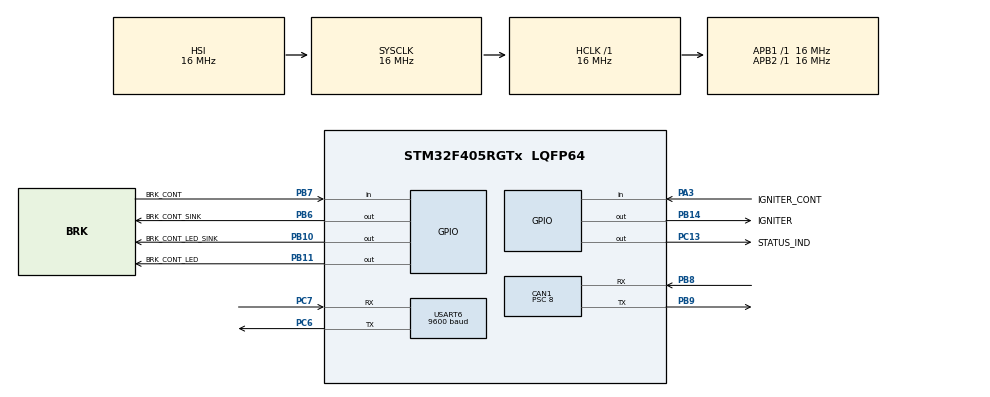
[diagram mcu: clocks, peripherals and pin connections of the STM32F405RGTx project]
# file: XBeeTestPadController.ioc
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CAN1.BS1=CAN_BS1_2TQ
CAN1.CalculateBaudRate=500000
CAN1.CalculateTimeBit=2000
CAN1.CalculateTimeQuantum=500.0
CAN1.Mode=CAN_MODE_LOOPBACK
CAN1.NART=ENABLE
CAN1.Prescaler=8
Mcu.Family=STM32F4
Mcu.Name=STM32F405RGTx
Mcu.Package=LQFP64
NVIC.CAN1_RX0_IRQn=true\:0\:0\:false\:false\:true\:true\:true\:true
NVIC.CAN1_TX_IRQn=true\:0\:0\:false\:false\:true\:true\:true\:true
NVIC.PriorityGroup=NVIC_PRIORITYGROUP_4
NVIC.USART6_IRQn=true\:0\:0\:false\:false\:true\:true\:true\:true
PA13.Mode=Serial_Wire
PA13.Signal=SYS_JTMS-SWDIO
PA14.Mode=Serial_Wire
PA14.Signal=SYS_JTCK-SWCLK
PA3.GPIO_Label=IGNITER_CONT
PA3.Signal=GPIO_Input
PB10.GPIO_Label=BRK_CONT_LED_SINK
PB10.Signal=GPIO_Output
PB11.GPIO_Label=BRK_CONT_LED
PB11.Signal=GPIO_Output
PB14.GPIO_Label=IGNITER
PB14.Signal=GPIO_Output
PB6.GPIO_Label=BRK_CONT_SINK
PB6.Signal=GPIO_Output
PB7.GPIO_Label=BRK_CONT
PB7.GPIO_PuPd=GPIO_PULLUP
PB7.Signal=GPIO_Input
PB8.Mode=CAN_Activate
PB8.Signal=CAN1_RX
PB9.Mode=CAN_Activate
PB9.Signal=CAN1_TX
PC13-ANTI_TAMP.GPIO_Label=STATUS_IND
PC13-ANTI_TAMP.Signal=GPIO_Output
PC6.GPIO_Speed=GPIO_SPEED_FREQ_LOW
PC6.Mode=Asynchronous
PC6.Signal=USART6_TX
PC7.GPIO_Speed=GPIO_SPEED_FREQ_LOW
PC7.Mode=Asynchronous
PC7.Signal=USART6_RX
ProjectManager.HeapSize=0x200
ProjectManager.StackSize=0x400
ProjectManager.TargetToolchain=STM32CubeIDE
RCC.AHBFreq_Value=16000000
RCC.APB1Freq_Value=16000000
RCC.APB2Freq_Value=16000000
RCC.CortexFreq_Value=16000000
RCC.HSE_VALUE=25000000
RCC.HSI_VALUE=16000000
RCC.LSE_VALUE=32768
RCC.SYSCLKFreq_VALUE=16000000
RCC.VCOOutputFreq_Value=192000000
USART6.BaudRate=9600
USART6.VirtualMode=VM_ASYNC
board=custom

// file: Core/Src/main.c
/* USER CODE BEGIN Header */
/**
  ******************************************************************************
  * @file           : main.c
  * @brief          : Main program body
  ******************************************************************************
  * @attention
  *
  * Copyright (c) 2025 STMicroelectronics.
  * All rights reserved.
  *
  * This software is licensed under terms that can be found in the LICENSE file
  * in the root directory of this software component.
  * If no LICENSE file comes with this software, it is provided AS-IS.
  *
  ******************************************************************************
  */
/* USER CODE END Header */
#include "main.h"

#include <stdbool.h>
#include <stdio.h>
#include <string.h>

#include "stm32/platform_config.h"
#include "stm32/xbee_platform_uart.h"
#include "stm32/xbee_actions.h"
#include "xbee/platform.h"
#include "xbee/device.h"
#include "xbee/atcmd.h"
#include "xbee/byteorder.h"   // for htobe16()
#include "xbee/wpan.h"
#include "wpan/types.h"       // for addr64, WPAN_IEEE_ADDR_BROADCAST, WPAN_NET_ADDR_UNDEFINED

CAN_HandleTypeDef hcan1;

UART_HandleTypeDef huart6;

void SystemClock_Config(void);
static void MX_GPIO_Init(void);
static void MX_CAN1_Init(void);
static void MX_USART6_UART_Init(void);

/* USER CODE BEGIN 0 */
typedef struct {
    volatile bool done;
    uint32_t      value;
    uint16_t      flags;
} at_sync_t;

static volatile uint32_t dbg_cr1;
volatile uint32_t dbg_iser;
volatile bool     dbg_rxneie;
volatile bool     dbg_irqn;
volatile uint32_t dbg_lib_AP;
volatile uint16_t dbg_xbee_flags;

static xbee_dev_t   xbee;

//#define TEST_HTOBE16(x) (uint16_t)( (((x)&0xFF)<<8) | (((x)&0xFF00)>>8) )
//
//#if htobe16(0x1234) != TEST_HTOBE16(0x1234)
//  #error "htobe16() is not swapping correctly — fix your BYTE_ORDER macros"
//#endif

static int at_sync_cb(const xbee_cmd_response_t *resp)
{
    at_sync_t *sync = (at_sync_t *)resp->context;

    /* pull up to 4 bytes into host‑endian uint32_t */
    uint32_t v = 0;
    switch (resp->value_length) {
        case 1: v = resp->value_bytes[0];                               break;
        case 2: v = be16toh(*(uint16_t *)resp->value_bytes);            break;
        case 4: v = be32toh(*(uint32_t *)resp->value_bytes);            break;
        default: /* >4 bytes ignored for this helper */                 break;
    }

    sync->value = v;
    sync->flags = resp->flags;
    sync->done  = true;
    return XBEE_ATCMD_DONE;               /* auto‑release handle      */
}

/* call:  xbee_at_read_uint32(&xbee, "VR", &ver);                         */
static int xbee_at_read_uint32(xbee_dev_t *xbee,
                               const char *at,
                               uint32_t   *out)
{
    int16_t handle = xbee_cmd_create(xbee, at);
    if (handle < 0)                           return handle;

    at_sync_t sync = { .done = false };
    xbee_cmd_set_callback(handle, at_sync_cb, &sync);

    int rc = xbee_cmd_send(handle);           /* fire the request      */
    if (rc)                                   return rc;

    while (!sync.done) {                      /* busy‑wait for reply   */
        xbee_dev_tick(xbee);
        xbee_cmd_tick();
    }

    if (XBEE_AT_RESP_STATUS(sync.flags) != XBEE_AT_RESP_SUCCESS)
        return -EIO;                          /* modem returned error  */

    *out = sync.value;
    return 0;
}

static void send_broadcast(void)
{
    const addr64 ieee_broadcast = *WPAN_IEEE_ADDR_BROADCAST;
    static const char msg[] = "Hello from F405";

    uint8_t frame_id = xbee_next_frame_id(&xbee);

    xbee_header_transmit_t hdr = {
        .frame_type         = XBEE_FRAME_TRANSMIT,      /* 0x10 */
        .frame_id           = frame_id,
        .ieee_address       = ieee_broadcast,
        .network_address_be = htobe16(WPAN_NET_ADDR_UNDEFINED), /* 0xFFFE */
        .broadcast_radius   = 0,        /* use NH parameter (default 10)  */
        .options            = 0
    };

    int rc = xbee_frame_write(&xbee,
                              &hdr, sizeof hdr,
                              msg, sizeof msg,
                              XBEE_WRITE_FLAG_NONE);
    if (rc < 0) {
        //printf("xbee_frame_write error %d\r\n", rc);
        HAL_GPIO_TogglePin(STATUS_IND_GPIO_Port, STATUS_IND_Pin);
    }
}

// call this once at startup, before any xbee_dev_init()
// returns true if we actually changed from AT→API
// returns false if already in API and untouched
// max frame size = 256 payload + overhead
#define FRAME_BUF_SIZE   (256 + 4)

/// Blocking flush of any bytes in the UART RX FIFO (up to timeout_ms)
static void uart_flush_rx(uint32_t timeout_ms) {
    uint8_t tmp;
    uint32_t t0 = HAL_GetTick();
    while (HAL_UART_Receive(&huart6, &tmp, 1, 1) == HAL_OK) {
        if ((HAL_GetTick() - t0) > timeout_ms) break;
    }
}

/// Send a raw API frame to read the “AP” parameter
static void send_at_read_AP(void) {
    // length = 0x0004 (frame type + frame id + AT cmd[2])
    // checksum = 0xFF - sum(08 + 01 + 'A' + 'P') = 0x65
    const uint8_t frame[] = {
        0x7E,       // start
        0x00, 0x04, // length = 4
        0x08,       // frame type: local AT
        0x01,       // frame ID = 1
        'A','P',    // AT command = "AP"
        0x65        // checksum
    };
    HAL_UART_Transmit(&huart6, (uint8_t*)frame, sizeof frame, HAL_MAX_DELAY);
}

/// Wait for one full API frame, up to timeout_ms ms.
/// On success copies the entire frame (including checksum) into buf,
/// and returns the total byte count (>=4). On failure returns -1.
static int uart_read_api_frame(uint8_t *buf, uint32_t timeout_ms) {
    uint8_t b;
    uint32_t t0 = HAL_GetTick();

    // 1) wait for 0x7E
    do {
        if (HAL_UART_Receive(&huart6, &b, 1, 1) == HAL_OK && b == 0x7E) {
            buf[0] = 0x7E;
            break;
        }
    } while ((HAL_GetTick() - t0) < timeout_ms);
    if (buf[0] != 0x7E) return -1;

    // 2) read length MSB/LSB
    if (HAL_UART_Receive(&huart6, buf+1, 2, timeout_ms) != HAL_OK) return -1;
    uint16_t length = (buf[1] << 8) | buf[2];
    if (length + 4 > FRAME_BUF_SIZE) return -1;  // too big!

    // 3) read payload + checksum
    if (HAL_UART_Receive(&huart6, buf+3, length + 1, timeout_ms) != HAL_OK)
        return -1;

    return length + 4;
}

/// Master routine: flush old bytes, send AT "AP", read response, print value.
int read_AP_over_api(void) {
    uint8_t frame[FRAME_BUF_SIZE];
    int n;

    // 1) clear any old cruft
    uart_flush_rx(50);

    // 2) send the AT-read-AP request
    send_at_read_AP();

    // 3) read back one API frame
    n = uart_read_api_frame(frame, 200);
    if (n < 0) {
        //printf("No API frame received\n");
        return;
    }

    // 4) parse it: expect a Local AT response (0x88), ID=1, cmd='A','P', status=0
    if (n >= 9 &&
        frame[0] == 0x7E &&
        frame[3] == 0x88 &&
        frame[4] == 0x01 &&
        frame[5] == 'A' &&
        frame[6] == 'P' &&
        frame[7] == 0x00  /* status OK */)
    {
        uint8_t ap = frame[8];
        //printf(">>> AP = %u\n", ap);
        return ap;
    }
//    else {
        //printf("Unexpected frame (len=%d):", n);
    	//for (int i = 0; i < n; i++) printf(" %02X", frame[i]);
        //printf("\n");
//    }
    return -1;
}

static void dbg_dump_xbee_flags(xbee_dev_t *xbee)
{
    dbg_xbee_flags = xbee->flags;
}

static void uart_debug_dump(void)
{
    dbg_cr1    = USART6->CR1;
    uint32_t idx = USART6_IRQn >> 5;
    uint32_t bit = USART6_IRQn & 0x1F;
    dbg_iser   = NVIC->ISER[idx];
    dbg_rxneie = (dbg_cr1 & USART_CR1_RXNEIE) != 0;
    dbg_irqn   = (dbg_iser & (1u << bit)) != 0;
}

/**
 * Send an arbitrary byte sequence over USART6, then block for up to
 * timeout_ms to receive up to rx_len bytes into rx_buf.
 *
 * @param tx_buf      Pointer to bytes to send
 * @param tx_len      Number of bytes to send
 * @param rx_buf      Buffer to store received bytes
 * @param rx_len      Max bytes to receive
 * @param timeout_ms  How long to wait (ms) for the first byte (then reads as many as arrive)
 * @return            Number of bytes actually received, or -1 on TX error
 */
int uart_send_receive(
    const uint8_t *tx_buf, size_t tx_len,
    uint8_t *rx_buf,       size_t rx_len,
    uint32_t timeout_ms
) {
    // 1) clear hardware FIFO
    {
        uint8_t tmp;
        uint32_t t0 = HAL_GetTick();
        while (HAL_UART_Receive(&huart6, &tmp, 1, 1) == HAL_OK) {
            if ((HAL_GetTick() - t0) > timeout_ms) break;
        }
    }
    // 2) clear software ring
    xbee_ser_rx_flush( xbee_platform_serial() );

    // 3) send your bytes
    if (HAL_UART_Transmit(&huart6, (uint8_t*)tx_buf, (uint16_t)tx_len, HAL_MAX_DELAY) != HAL_OK) {
        return -1;
    }

    // 4) now block for reply
    int n = HAL_UART_Receive(&huart6, rx_buf, (uint16_t)rx_len, timeout_ms);
    return n < 0 ? 0 : n;
}

/* USER CODE END 0 */

int main(void)
{

  /* MCU Configuration--------------------------------------------------------*/

  /* Reset of all peripherals, Initializes the Flash interface and the Systick. */
  HAL_Init();

  /* Configure the system clock */
  SystemClock_Config();

  /* Initialize all configured peripherals */
  MX_GPIO_Init();
  MX_CAN1_Init();
  MX_USART6_UART_Init();
  /* USER CODE BEGIN 2 */
  HAL_GPIO_WritePin(STATUS_IND_GPIO_Port, STATUS_IND_Pin, GPIO_PIN_SET);
//  int ap = read_AP_over_api();
//
//  uint8_t tx_frame[] = {
//      0x7E, 0x00, 0x04,   // correct length = 4
//      0x08,               // Local AT
//      0x01,               // frame ID
//      'H','V',            // AT command = "HV"
//      0x58
//  };
//  uint8_t rx_buf[32];
//  int rx_n = uart_send_receive(tx_frame, sizeof tx_frame,
//                                 rx_buf,   sizeof rx_buf,
//                                 1000);
//  rx_n = uart_send_receive(tx_frame, sizeof tx_frame,
//                                 rx_buf,   sizeof rx_buf,
//                                 1000);

  // --- 1) init the XBee device in the library ---

  // THIS DELAY ALLOWS XBEE TO WAKE UP
  HAL_Delay(1000);

  xbee_dev_init(&xbee, xbee_platform_serial(), always_awake, NULL);
  xbee_dev_flowcontrol(&xbee, 0);

  // --- 2) verify interrupts are really enabled ---
  uart_debug_dump();
  // now set a breakpoint on the next line and check:
  //  dbg_rxneie == true
  //  dbg_irqn   == true
  dbg_dump_xbee_flags(&xbee);

  // --- 3) kick off the built-in handshake/query ---
  xbee_ser_rx_flush( xbee_platform_serial() );
  xbee_cmd_init_device(&xbee);

  // one tick to *send* the first "HV" frame
  xbee_dev_tick(&xbee);

  xbee_cmd_tick();
  // put a breakpoint here and scope your TX pin — you should see:
  //   7E 00 04 08 01 48 56 58
  int status = 0;
  // now spin until that handshake comes back

  do {
      xbee_dev_tick(&xbee);
      xbee_cmd_tick();
      dbg_dump_xbee_flags(&xbee);
      status = xbee_cmd_query_status(&xbee);
  } while (status == -EBUSY);

  // check result
  if (status != 0) {
      // handshake failed — set a breakpoint here to inspect 'status'
      return status;
  }

  // --- 4) now use the library to read "AP" ---
  dbg_lib_AP = 0xFFFFFFFF;
  xbee_at_read_uint32(&xbee, "AP", &dbg_lib_AP);
  // read failed — dbg_lib_AP stays 0xFFFFFFFF
  // if all is well, dbg_lib_AP == 2

  // 4. Now it’s safe to issue your own commands
  uint32_t sh;
  if (xbee_at_read_uint32(&xbee, "SH", &sh) == 0) {
      //printf("Serial‑Low (SH) = %08lX\r\n", (unsigned long)sh);
	  HAL_GPIO_TogglePin(STATUS_IND_GPIO_Port, STATUS_IND_Pin);
  }

  uint32_t sl;
  if (xbee_at_read_uint32(&xbee, "SL", &sl) == 0) {
      //printf("Serial‑Low (SL) = %08lX\r\n", (unsigned long)sl);
	  HAL_GPIO_TogglePin(STATUS_IND_GPIO_Port, STATUS_IND_Pin);
  }

  /* forever */
  uint32_t tick = HAL_GetTick();
  /* USER CODE END 2 */

  /* Infinite loop */
  while (1)
  {
	  xbee_dev_tick(&xbee);   /* UART RX/TX, frame dispatcher          */
	  xbee_cmd_tick();        /* keeps AT‑command table moving         */

	  if (HAL_GetTick() - tick >= 1000) {      /* every 1 s */
//		  send_broadcast();
		  tick = HAL_GetTick();
		  HAL_GPIO_TogglePin(STATUS_IND_GPIO_Port, STATUS_IND_Pin);
	  }
  }
}

void SystemClock_Config(void)
{
  RCC_OscInitTypeDef RCC_OscInitStruct = {0};
  RCC_ClkInitTypeDef RCC_ClkInitStruct = {0};

  /** Configure the main internal regulator output voltage
  */
  __HAL_RCC_PWR_CLK_ENABLE();
  __HAL_PWR_VOLTAGESCALING_CONFIG(PWR_REGULATOR_VOLTAGE_SCALE1);

  /** Initializes the RCC Oscillators according to the specified parameters
  * in the RCC_OscInitTypeDef structure.
  */
  RCC_OscInitStruct.OscillatorType = RCC_OSCILLATORTYPE_HSI;
  RCC_OscInitStruct.HSIState = RCC_HSI_ON;
  RCC_OscInitStruct.HSICalibrationValue = RCC_HSICALIBRATION_DEFAULT;
  RCC_OscInitStruct.PLL.PLLState = RCC_PLL_NONE;
  if (HAL_RCC_OscConfig(&RCC_OscInitStruct) != HAL_OK)
  {
    Error_Handler();
  }

  /** Initializes the CPU, AHB and APB buses clocks
  */
  RCC_ClkInitStruct.ClockType = RCC_CLOCKTYPE_HCLK|RCC_CLOCKTYPE_SYSCLK
                              |RCC_CLOCKTYPE_PCLK1|RCC_CLOCKTYPE_PCLK2;
  RCC_ClkInitStruct.SYSCLKSource = RCC_SYSCLKSOURCE_HSI;
  RCC_ClkInitStruct.AHBCLKDivider = RCC_SYSCLK_DIV1;
  RCC_ClkInitStruct.APB1CLKDivider = RCC_HCLK_DIV1;
  RCC_ClkInitStruct.APB2CLKDivider = RCC_HCLK_DIV1;

  if (HAL_RCC_ClockConfig(&RCC_ClkInitStruct, FLASH_LATENCY_0) != HAL_OK)
  {
    Error_Handler();
  }
}

static void MX_CAN1_Init(void)
{

  hcan1.Instance = CAN1;
  hcan1.Init.Prescaler = 8;
  hcan1.Init.Mode = CAN_MODE_LOOPBACK;
  hcan1.Init.SyncJumpWidth = CAN_SJW_1TQ;
  hcan1.Init.TimeSeg1 = CAN_BS1_2TQ;
  hcan1.Init.TimeSeg2 = CAN_BS2_1TQ;
  hcan1.Init.TimeTriggeredMode = DISABLE;
  hcan1.Init.AutoBusOff = DISABLE;
  hcan1.Init.AutoWakeUp = DISABLE;
  hcan1.Init.AutoRetransmission = ENABLE;
  hcan1.Init.ReceiveFifoLocked = DISABLE;
  hcan1.Init.TransmitFifoPriority = DISABLE;
  if (HAL_CAN_Init(&hcan1) != HAL_OK)
  {
    Error_Handler();
  }

}

static void MX_USART6_UART_Init(void)
{

  huart6.Instance = USART6;
  huart6.Init.BaudRate = 9600;
  huart6.Init.WordLength = UART_WORDLENGTH_8B;
  huart6.Init.StopBits = UART_STOPBITS_1;
  huart6.Init.Parity = UART_PARITY_NONE;
  huart6.Init.Mode = UART_MODE_TX_RX;
  huart6.Init.HwFlowCtl = UART_HWCONTROL_NONE;
  huart6.Init.OverSampling = UART_OVERSAMPLING_16;
  if (HAL_UART_Init(&huart6) != HAL_OK)
  {
    Error_Handler();
  }

}

static void MX_GPIO_Init(void)
{
  GPIO_InitTypeDef GPIO_InitStruct = {0};

  /* GPIO Ports Clock Enable */
  __HAL_RCC_GPIOC_CLK_ENABLE();
  __HAL_RCC_GPIOA_CLK_ENABLE();
  __HAL_RCC_GPIOB_CLK_ENABLE();

  /*Configure GPIO pin Output Level */
  HAL_GPIO_WritePin(STATUS_IND_GPIO_Port, STATUS_IND_Pin, GPIO_PIN_RESET);

  /*Configure GPIO pin Output Level */
  HAL_GPIO_WritePin(GPIOB, BRK_CONT_LED_SINK_Pin|BRK_CONT_LED_Pin|IGNITER_Pin|BRK_CONT_SINK_Pin, GPIO_PIN_RESET);

  /*Configure GPIO pin : STATUS_IND_Pin */
  GPIO_InitStruct.Pin = STATUS_IND_Pin;
  GPIO_InitStruct.Mode = GPIO_MODE_OUTPUT_PP;
  GPIO_InitStruct.Pull = GPIO_NOPULL;
  GPIO_InitStruct.Speed = GPIO_SPEED_FREQ_LOW;
  HAL_GPIO_Init(STATUS_IND_GPIO_Port, &GPIO_InitStruct);

  /*Configure GPIO pin : IGNITER_CONT_Pin */
  GPIO_InitStruct.Pin = IGNITER_CONT_Pin;
  GPIO_InitStruct.Mode = GPIO_MODE_INPUT;
  GPIO_InitStruct.Pull = GPIO_NOPULL;
  HAL_GPIO_Init(IGNITER_CONT_GPIO_Port, &GPIO_InitStruct);

  /*Configure GPIO pins : BRK_CONT_LED_SINK_Pin BRK_CONT_LED_Pin IGNITER_Pin BRK_CONT_SINK_Pin */
  GPIO_InitStruct.Pin = BRK_CONT_LED_SINK_Pin|BRK_CONT_LED_Pin|IGNITER_Pin|BRK_CONT_SINK_Pin;
  GPIO_InitStruct.Mode = GPIO_MODE_OUTPUT_PP;
  GPIO_InitStruct.Pull = GPIO_NOPULL;
  GPIO_InitStruct.Speed = GPIO_SPEED_FREQ_LOW;
  HAL_GPIO_Init(GPIOB, &GPIO_InitStruct);

  /*Configure GPIO pin : BRK_CONT_Pin */
  GPIO_InitStruct.Pin = BRK_CONT_Pin;
  GPIO_InitStruct.Mode = GPIO_MODE_INPUT;
  GPIO_InitStruct.Pull = GPIO_PULLUP;
  HAL_GPIO_Init(BRK_CONT_GPIO_Port, &GPIO_InitStruct);

}

void Error_Handler(void)
{
  __disable_irq();
  while (1)
  {
  }
}

#ifdef  USE_FULL_ASSERT
/**
  * @brief  Reports the name of the source file and the source line number
  *         where the assert_param error has occurred.
  * @param  file: pointer to the source file name
  * @param  line: assert_param error line source number
  * @retval None
  */
void assert_failed(uint8_t *file, uint32_t line)
{
  /* USER CODE BEGIN 6 */
  /* User can add his own implementation to report the file name and line number,
     ex: //printf("Wrong parameters value: file %s on line %d\r\n", file, line) */
  /* USER CODE END 6 */
}
#endif /* USE_FULL_ASSERT */
